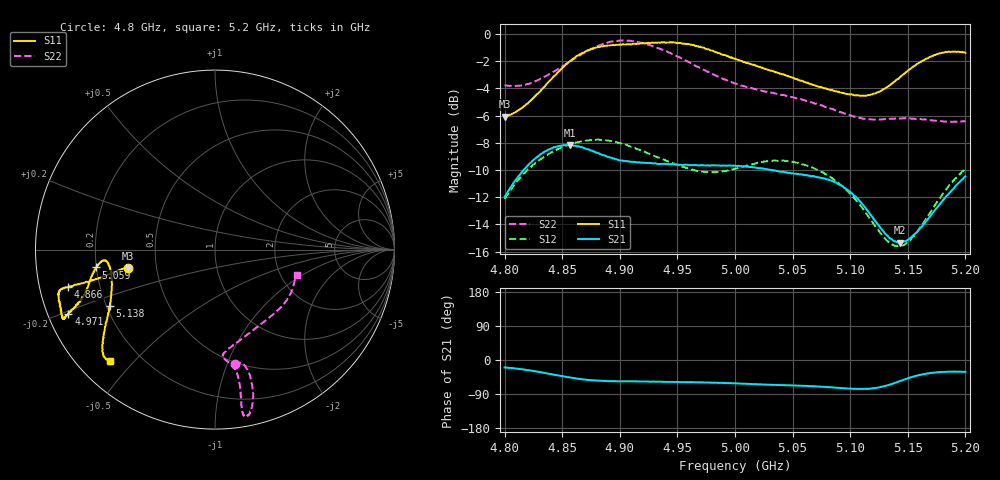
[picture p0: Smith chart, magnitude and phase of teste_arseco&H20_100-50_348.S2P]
! Network Analyzer HP8722D
! Hewlett-Packard
! Data name: Linha & Wilkinson
! Saver's name: Rodrigo Anjos
! Comments: Teste da utilização de aquisição
! continua pelo VNA HP8722D
! Time and date: 6/5/2025 15:28
!  Frequency  S11  S21  S12  S22
# HZ  S  MA R 50
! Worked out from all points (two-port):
!   401 points, 4.8 GHz to 5.2 GHz, reference 50 ohm
!   highest |S21| = -8.17 dB at 4.857 GHz (marker M1); lowest = -15.3 dB at 5.143 GHz (marker M2)
!   |S21| within 3 dB of the highest: 4.806 GHz to 5.093 GHz (286.6 MHz wide, 5.79 % of centre); 5.19156 GHz to end of sweep
!   lowest |S11| = -6.1 dB at 4.8 GHz (marker M3), VSWR 2.98, Z = 17 - j4.62 ohm
!   |S11| at or under -10 dB: nowhere
!   |S22| runs from -6.5 to -0.5 dB; largest |S21 - S12| = 0.62
!   S11 on the Smith chart (normalised r, x): 4.8 GHz: 0.34, -0.09; 4.866 GHz: 0.09, -0.12; 4.971 GHz: 0.06, -0.21; 5.059 GHz: 0.20, -0.07; 5.138 GHz: 0.21, -0.24; 5.2 GHz: 0.09, -0.43
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4.8e9  0.4969 -168.1  0.252 -19.6  0.2477 -140.7  0.6476 -80.3
4.829e9  0.6031 -166.9  0.3551 -31.1  0.3414 -144.9  0.677 -75.2
4.857e9  0.795 -165.8  0.3904 -46.2  0.393 -150.2  0.7931 -74.8
4.866e9  0.8427 -165.8  0.3836 -50.2  0.4023 -151.8  0.8362 -75.3
4.867e9  0.8488 -165.7  0.3838 -50.7  0.4031 -151.9  0.843 -75.4
4.882e9  0.8938 -165.0  0.3635 -54.8  0.4087 -154.4  0.9062 -77.1
4.901e9  0.9135 -162.3  0.3431 -56.2  0.3957 -156.6  0.9452 -79.2
4.934e9  0.9296 -156.3  0.3327 -57.4  0.3511 -155.5  0.8835 -80.4
4.971e9  0.891 -156.4  0.3292 -59.2  0.3118 -146.4  0.746 -79.6
5e9  0.8111 -158.9  0.3277 -61.7  0.3198 -137.1  0.6569 -81.3
5.036e9  0.7228 -165.5  0.3137 -65.9  0.342 -134.2  0.6026 -85.7
5.059e9  0.6701 -171.5  0.304 -68.1  0.3314 -136.0  0.5728 -84.4
5.067e9  0.6511 -172.9  0.3008 -69.0  0.323 -136.6  0.5594 -82.6
5.083e9  0.6214 -174.5  0.2892 -72.2  0.2978 -138.1  0.5317 -76.8
5.1e9  0.5992 -172.2  0.2627 -75.4  0.2589 -138.8  0.5027 -67.1
5.115e9  0.5953 -165.8  0.2243 -75.9  0.2156 -135.8  0.4862 -56.6
5.134e9  0.6461 -154.2  0.178 -65.2  0.1707 -120.8  0.4874 -43.4
5.138e9  0.6657 -151.7  0.1734 -61.2  0.167 -115.5  0.4872 -40.9
5.143e9  0.6931 -149.2  0.171 -55.7  0.1663 -109.1  0.4887 -38.1
5.154e9  0.7551 -144.4  0.1808 -44.5  0.1791 -95.1  0.4884 -32.2
5.174e9  0.8372 -138.4  0.2262 -32.8  0.2362 -80.3  0.4796 -23.9
5.2e9  0.8515 -133.5  0.2997 -31.2  0.3187 -76.7  0.4774 -17.5
